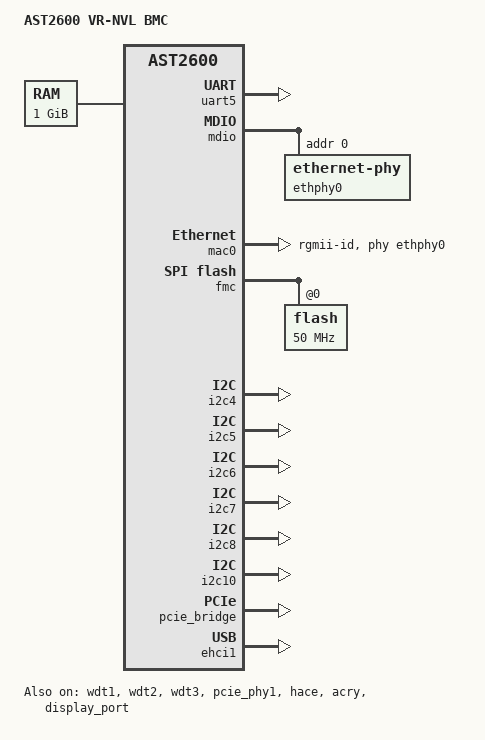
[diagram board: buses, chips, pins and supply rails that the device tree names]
// SPDX-License-Identifier: GPL-2.0+
/dts-v1/;

#include "ast2600-u-boot.dtsi"

/ {
	model = "AST2600 VR-NVL BMC";
	compatible = "nvidia,vr-nvl-bmc", "aspeed,ast2600";

	memory {
		device_type = "memory";
		reg = <0x80000000 0x40000000>;
	};

	chosen {
		stdout-path = &uart5;
	};

	aliases {
		spi0 = &fmc;
		ethernet0 = &mac0;
	};

	cpus {
		cpu@0 {
			clock-frequency = <800000000>;
		};
		cpu@1 {
			clock-frequency = <800000000>;
		};
	};
};

&uart5 {
	u-boot,dm-pre-reloc;
	status = "okay";
};

&sdrammc {
	clock-frequency = <400000000>;
	aspeed,ecc-enabled;
};

&wdt1 {
	status = "okay";
};

&wdt2 {
	status = "okay";
};

&wdt3 {
	status = "okay";
};

&mdio {
	status = "okay";
	pinctrl-names = "default";
	pinctrl-0 = <&pinctrl_mdio1_default>;
	#address-cells = <1>;
	#size-cells = <0>;
	ethphy0: ethernet-phy@0 {
		reg = <0>;
	};
};

&mac0 {
	status = "okay";
	phy-mode = "rgmii-id";
	phy-handle = <&ethphy0>;
	pinctrl-names = "default";
	pinctrl-0 = <&pinctrl_rgmii1_default>;
};

&fmc {
	status = "okay";

	pinctrl-names = "default";
	pinctrl-0 = <&pinctrl_fmcquad_default>;

	flash@0 {
		status = "okay";
		spi-max-frequency = <50000000>;
		spi-tx-bus-width = <4>;
		spi-rx-bus-width = <4>;
	};
};

&i2c4 {
	status = "okay";

	pinctrl-names = "default";
	pinctrl-0 = <&pinctrl_i2c5_default>;
};

&i2c5 {
	status = "okay";

	pinctrl-names = "default";
	pinctrl-0 = <&pinctrl_i2c6_default>;
};

&i2c6 {
	status = "okay";

	pinctrl-names = "default";
	pinctrl-0 = <&pinctrl_i2c7_default>;
};

&i2c7 {
	status = "okay";

	pinctrl-names = "default";
	pinctrl-0 = <&pinctrl_i2c8_default>;
};

&i2c8 {
	status = "okay";

	pinctrl-names = "default";
	pinctrl-0 = <&pinctrl_i2c9_default>;
};

&i2c10 {
	status = "okay";

	pinctrl-names = "default";
	pinctrl-0 = <&pinctrl_i2c11_default>;
};

&pcie_phy1 {
	status = "okay";
};

&pcie_bridge {
	status = "okay";
};

&ehci1 {
	status = "okay";
};

&hace {
	u-boot,dm-pre-reloc;
	status = "okay";
};

&acry {
	u-boot,dm-pre-reloc;
	status = "okay";
};

&display_port {
	status = "okay";
};
